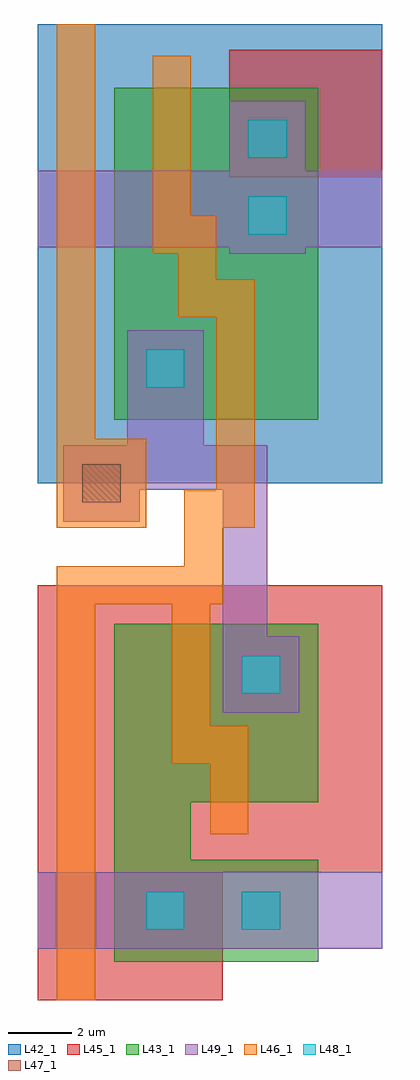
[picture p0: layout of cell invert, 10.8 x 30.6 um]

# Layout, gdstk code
import gdstk
lib = gdstk.Library(unit=1e-6, precision=2e-10)
def R(c, l, rs):  # rectangles x0, y0, x1, y1
    for r in rs: c.add(gdstk.rectangle(r[:2], r[2:], *l))
L42_1 = (42, 1)
L43_1 = (43, 1)
L45_1 = (45, 1)
L46_1 = (46, 1)
L47_1 = (47, 1)
L48_1 = (48, 1)
L49_1 = (49, 1)

invert = lib.new_cell('invert')
R(invert, L42_1, [(-14.4,53.4,-3.6,67.8)])
R(invert, L43_1, [(-12,38.4,-5.6,41.6), (-12,41.6,-9.6,43.4), (-12,43.4,-5.6,49), (-12,55.4,-5.6,65.8)])
R(invert, L45_1, [(-14.4,37.2,-8.6,41.2), (-14.4,41.2,-3.6,50.2), (-8.4,63,-3.6,67)])
R(invert, L46_1, [(-13.8,37.2,-12.6,37.6), (-13.8,37.2,-12.6,49.6), (-9,42.4,-7.8,44.6), (-10.2,44.6,-7.8,45.8), (-10.2,45.8,-9,49.6), (-13.8,49.6,-8.6,50.8), (-9.8,50.8,-8.6,52), (-13.8,52,-11,54.8), (-9.8,52,-7.6,53.2), (-8.8,53.2,-7.6,58.6), (-13.8,54.8,-12.6,67.8), (-10,58.6,-7.6,59.8), (-10,59.8,-8.8,60.6), (-10.8,60.6,-8.8,61.8), (-10.8,61.8,-9.6,62.2), (-10.8,62.2,-9.6,66.8), (-13.8,67.4,-12.6,67.8)])
R(invert, L47_1, [(-13,52.8,-11.8,54)])
R(invert, L48_1, [(-11,39.4,-9.8,40.6), (-8,39.4,-6.8,40.6), (-8,46.8,-6.8,48), (-11,56.4,-9.8,57.6), (-7.8,61.2,-6.6,62.4), (-7.8,63.6,-6.6,64.8)])
R(invert, L49_1, [(-14.4,38.8,-14,41.2), (-14.4,38.8,-3.6,41.2), (-4,38.8,-3.6,41.2), (-8.6,46.2,-6.2,48.6), (-8.6,48.6,-7.2,53.2), (-13.6,52.2,-11.2,53.2), (-13.6,53.2,-7.2,54.6), (-11.6,54.6,-9.2,58.2), (-8.4,60.6,-6,60.8), (-14.4,60.8,-14,63.2), (-14.4,60.8,-3.6,63.2), (-4,60.8,-3.6,63.2), (-8.4,63.2,-6,65.4)])

lib.write_gds('invert.gds')
